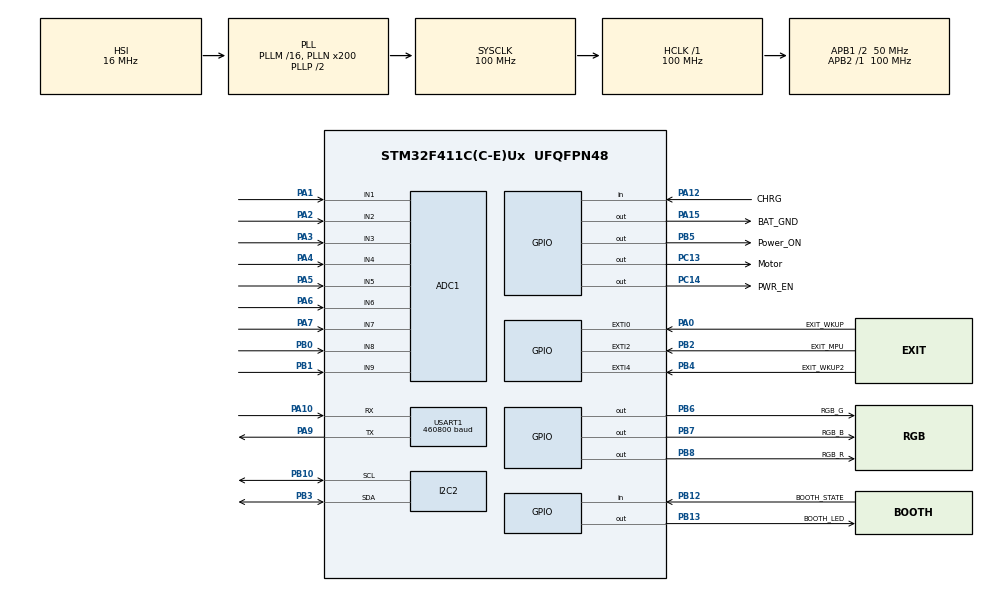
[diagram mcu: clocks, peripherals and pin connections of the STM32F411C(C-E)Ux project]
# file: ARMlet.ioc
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ADC1.Channel-0\#ChannelRegularConversion=ADC_CHANNEL_1
ADC1.Channel-10\#ChannelRegularConversion=ADC_CHANNEL_3
ADC1.Channel-11\#ChannelRegularConversion=ADC_CHANNEL_4
ADC1.Channel-12\#ChannelRegularConversion=ADC_CHANNEL_5
ADC1.Channel-13\#ChannelRegularConversion=ADC_CHANNEL_6
ADC1.Channel-14\#ChannelRegularConversion=ADC_CHANNEL_7
ADC1.Channel-15\#ChannelRegularConversion=ADC_CHANNEL_8
ADC1.Channel-16\#ChannelRegularConversion=ADC_CHANNEL_9
ADC1.Channel-9\#ChannelRegularConversion=ADC_CHANNEL_2
ADC1.ClockPrescaler=ADC_CLOCK_SYNC_PCLK_DIV8
ADC1.ContinuousConvMode=ENABLE
ADC1.DMAContinuousRequests=ENABLE
ADC1.DiscontinuousConvMode=DISABLE
ADC1.EOCSelection=ADC_EOC_SINGLE_CONV
ADC1.InjNumberOfConversion=0
ADC1.NbrOfConversion=9
ADC1.NbrOfConversionFlag=1
ADC1.Rank-0\#ChannelRegularConversion=1
ADC1.Rank-10\#ChannelRegularConversion=3
ADC1.Rank-11\#ChannelRegularConversion=4
ADC1.Rank-12\#ChannelRegularConversion=5
ADC1.Rank-13\#ChannelRegularConversion=6
ADC1.Rank-14\#ChannelRegularConversion=7
ADC1.Rank-15\#ChannelRegularConversion=8
ADC1.Rank-16\#ChannelRegularConversion=9
ADC1.Rank-9\#ChannelRegularConversion=2
ADC1.SamplingTime-0\#ChannelRegularConversion=ADC_SAMPLETIME_144CYCLES
ADC1.SamplingTime-10\#ChannelRegularConversion=ADC_SAMPLETIME_144CYCLES
ADC1.SamplingTime-11\#ChannelRegularConversion=ADC_SAMPLETIME_144CYCLES
ADC1.SamplingTime-12\#ChannelRegularConversion=ADC_SAMPLETIME_144CYCLES
ADC1.SamplingTime-13\#ChannelRegularConversion=ADC_SAMPLETIME_144CYCLES
ADC1.SamplingTime-14\#ChannelRegularConversion=ADC_SAMPLETIME_144CYCLES
ADC1.SamplingTime-15\#ChannelRegularConversion=ADC_SAMPLETIME_144CYCLES
ADC1.SamplingTime-16\#ChannelRegularConversion=ADC_SAMPLETIME_144CYCLES
ADC1.SamplingTime-9\#ChannelRegularConversion=ADC_SAMPLETIME_144CYCLES
ADC1.ScanConvMode=ENABLE
ADC1.master=1
Dma.ADC1.0.Direction=DMA_PERIPH_TO_MEMORY
Dma.ADC1.0.FIFOMode=DMA_FIFOMODE_DISABLE
Dma.ADC1.0.Instance=DMA2_Stream0
Dma.ADC1.0.MemDataAlignment=DMA_MDATAALIGN_WORD
Dma.ADC1.0.MemInc=DMA_MINC_ENABLE
Dma.ADC1.0.Mode=DMA_CIRCULAR
Dma.ADC1.0.PeriphDataAlignment=DMA_PDATAALIGN_WORD
Dma.ADC1.0.PeriphInc=DMA_PINC_DISABLE
Dma.ADC1.0.Priority=DMA_PRIORITY_MEDIUM
Dma.Request0=ADC1
Mcu.Family=STM32F4
Mcu.Name=STM32F411C(C-E)Ux
Mcu.Package=UFQFPN48
NVIC.DMA2_Stream0_IRQn=true\:0\:0\:false\:false\:true\:false\:true
NVIC.EXTI0_IRQn=true\:1\:0\:true\:false\:true\:true\:true
NVIC.EXTI2_IRQn=true\:2\:0\:true\:false\:true\:true\:true
NVIC.EXTI4_IRQn=true\:1\:0\:true\:false\:true\:true\:true
NVIC.PriorityGroup=NVIC_PRIORITYGROUP_4
NVIC.TIM1_BRK_TIM9_IRQn=true\:5\:0\:true\:false\:true\:true\:true
NVIC.TIM1_TRG_COM_TIM11_IRQn=true\:5\:0\:true\:false\:true\:true\:true
NVIC.TIM1_UP_TIM10_IRQn=true\:1\:0\:true\:false\:true\:true\:true
NVIC.TIM3_IRQn=true\:5\:0\:true\:false\:true\:true\:true
NVIC.TIM4_IRQn=true\:5\:0\:true\:false\:true\:true\:true
NVIC.TIM5_IRQn=true\:2\:0\:true\:false\:true\:true\:true
NVIC.USART1_IRQn=true\:3\:0\:true\:false\:true\:true\:true
PA0-WKUP.GPIO_Label=EXIT_WKUP
PA0-WKUP.GPIO_ModeDefaultEXTI=GPIO_MODE_IT_RISING
PA0-WKUP.Signal=GPXTI0
PA1.Signal=ADCx_IN1
PA10.Mode=Asynchronous
PA10.Signal=USART1_RX
PA12.GPIO_Label=CHRG
PA12.GPIO_PuPd=GPIO_PULLDOWN
PA12.Signal=GPIO_Input
PA13.Mode=Serial_Wire
PA13.Signal=SYS_JTMS-SWDIO
PA14.Mode=Serial_Wire
PA14.Signal=SYS_JTCK-SWCLK
PA15.GPIO_Label=BAT_GND
PA15.GPIO_PuPd=GPIO_NOPULL
PA15.Signal=GPIO_Output
PA2.Signal=ADCx_IN2
PA3.Signal=ADCx_IN3
PA4.Signal=ADCx_IN4
PA5.Signal=ADCx_IN5
PA6.Signal=ADCx_IN6
PA7.Signal=ADCx_IN7
PA9.Mode=Asynchronous
PA9.Signal=USART1_TX
PB0.Signal=ADCx_IN8
PB1.Signal=ADCx_IN9
PB10.Mode=I2C
PB10.Signal=I2C2_SCL
PB12.GPIO_Label=BOOTH_STATE
PB12.GPIO_PuPd=GPIO_PULLDOWN
PB12.Signal=GPIO_Input
PB13.GPIO_Label=BOOTH_LED
PB13.GPIO_PuPd=GPIO_PULLDOWN
PB13.PinState=GPIO_PIN_SET
PB13.Signal=GPIO_Output
PB2.GPIO_Label=EXIT_MPU
PB2.GPIO_ModeDefaultEXTI=GPIO_MODE_IT_FALLING
PB2.Signal=GPXTI2
PB3.Mode=I2C
PB3.Signal=I2C2_SDA
PB4.GPIO_Label=EXIT_WKUP2
PB4.GPIO_ModeDefaultEXTI=GPIO_MODE_IT_FALLING
PB4.Signal=GPXTI4
PB5.GPIO_Label=Power_ON
PB5.GPIO_PuPd=GPIO_PULLDOWN
PB5.PinState=GPIO_PIN_SET
PB5.Signal=GPIO_Output
PB6.GPIO_Label=RGB_G
PB6.GPIO_PuPd=GPIO_PULLDOWN
PB6.PinState=GPIO_PIN_SET
PB6.Signal=GPIO_Output
PB7.GPIO_Label=RGB_B
PB7.GPIO_PuPd=GPIO_PULLDOWN
PB7.PinState=GPIO_PIN_SET
PB7.Signal=GPIO_Output
PB8.GPIO_Label=RGB_R
PB8.GPIO_PuPd=GPIO_PULLDOWN
PB8.PinState=GPIO_PIN_SET
PB8.Signal=GPIO_Output
PC13-ANTI_TAMP.GPIO_Label=Motor
PC13-ANTI_TAMP.GPIO_PuPd=GPIO_PULLDOWN
PC13-ANTI_TAMP.Signal=GPIO_Output
PC14-OSC32_IN.GPIO_Label=PWR_EN
PC14-OSC32_IN.GPIO_PuPd=GPIO_PULLDOWN
PC14-OSC32_IN.PinState=GPIO_PIN_SET
PC14-OSC32_IN.Signal=GPIO_Output
ProjectManager.HeapSize=0x200
ProjectManager.StackSize=0x400
ProjectManager.TargetToolchain=MDK-ARM V5.32
RCC.48MHZClocksFreq_Value=50000000
RCC.AHBFreq_Value=100000000
RCC.APB1CLKDivider=RCC_HCLK_DIV2
RCC.APB1Freq_Value=50000000
RCC.APB1TimFreq_Value=100000000
RCC.APB2Freq_Value=100000000
RCC.APB2TimFreq_Value=100000000
RCC.CortexFreq_Value=100000000
RCC.HCLKFreq_Value=100000000
RCC.HSE_VALUE=25000000
RCC.HSI_VALUE=16000000
RCC.LSE_VALUE=32768
RCC.PLLN=200
RCC.SYSCLKFreq_VALUE=100000000
RCC.SYSCLKSource=RCC_SYSCLKSOURCE_PLLCLK
RCC.VCOOutputFreq_Value=200000000
SH.ADCx_IN1.0=ADC1_IN1,IN1
SH.ADCx_IN2.0=ADC1_IN2,IN2
SH.ADCx_IN3.0=ADC1_IN3,IN3
SH.ADCx_IN4.0=ADC1_IN4,IN4
SH.ADCx_IN5.0=ADC1_IN5,IN5
SH.ADCx_IN6.0=ADC1_IN6,IN6
SH.ADCx_IN7.0=ADC1_IN7,IN7
SH.ADCx_IN8.0=ADC1_IN8,IN8
SH.ADCx_IN9.0=ADC1_IN9,IN9
TIM10.Period=1999
TIM10.Prescaler=99
TIM11.Period=49999
TIM11.Prescaler=99
TIM3.Period=50000
TIM3.Prescaler=999
TIM4.Period=49999
TIM4.Prescaler=99
TIM5.Period=500000
TIM5.Prescaler=99
TIM9.Period=1000
TIM9.Prescaler=999
USART1.BaudRate=460800
USART1.VirtualMode=VM_ASYNC
VP_TIM10_VS_ClockSourceINT.Mode=Enable_Timer
VP_TIM11_VS_ClockSourceINT.Mode=Enable_Timer
VP_TIM3_VS_ClockSourceINT.Mode=Internal
VP_TIM4_VS_ClockSourceINT.Mode=Internal
VP_TIM5_VS_ClockSourceINT.Mode=Internal
VP_TIM9_VS_ClockSourceINT.Mode=Internal
board=custom

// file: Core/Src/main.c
/* USER CODE BEGIN Header */
/**
  ******************************************************************************
  * @file           : main.c
  * @brief          : Main program body
  ******************************************************************************
  * @attention
  *
  * <h2><center>&copy; Copyright (c) 2021 STMicroelectronics.
  * All rights reserved.</center></h2>
  *
  * This software component is licensed by ST under BSD 3-Clause license,
  * the "License"; You may not use this file except in compliance with the
  * License. You may obtain a copy of the License at:
  *                        opensource.org/licenses/BSD-3-Clause
  *
  ******************************************************************************
  */
/*============================肌电臂环简易版程序 V0.0.1================================
 * 念通智能
 * 简述外设功能
 * 1.htim10:	周期2ms			中断优先级：1		作用：采集EMG
 * 2.htim11:	周期50ms		中断优先级：5		作用：更新RGB灯色状态
 * 3.htim3:		周期200ms		中断优先级：5		作用：循环控制BOOTH_LED
 * 4.htim9:		周期10ms		中断优先级：5		作用：判断当前各种工作状态
 *
 *
 *
 * EXIT_GPIO2:	周期10ms		中断优先级：2		作用：IMU中断引脚
 *
 *
 *
 *
 *
 * */
/* USER CODE END Header */
#include "main.h"
#include "adc.h"
#include "dma.h"
#include "i2c.h"
#include "iwdg.h"
#include "tim.h"
#include "usart.h"
#include "gpio.h"

/* USER CODE BEGIN PV */
uint32_t AD_Value[20];	/* 8->EMG;1->battery*/
//==============================System work PV==================================
uint8_t work_state;				//工作状态变量	1：充电充满  2：正在充电	3：正常工作	  4：电量不足  5：电量微弱请及时充电
uint8_t Booth_state;			//蓝牙连接状态  0：未连接   1：连接状态
uint8_t Charge_state;			//充电状态		0：正在充   1：已经充满
uint8_t htim9_flag;				//定时器9旗标
uint8_t htim10_flag;			//定时器10旗标
uint8_t TimeFlag;				//EMG中断旗标
uint8_t IMUFlag;				//IMU中断旗标
uint8_t SystemFlag=0;			//完成初始化旗标

//================================IMU 数据测试函数====================================
short gyro[3], accel[3], sensors;
float Pitch,Roll,Yaw;
float q0,q1,q2,q3;
uint8_t OutPut_Buffer[11];

//===============串口1中断接受函数缓冲变量，trigger功能，ComandRCECVFlag====================
uint8_t RxCount=0;
uint8_t RxNum=0;
uint8_t RxBuffer[1];
uint8_t ReceiveBytes[8]={0};
uint8_t CommandRecevFlag=0;

uint8_t NoneData_EMG_Buf[16];
uint8_t NoneData_IMU_Buf[8];

/* USER CODE END PV */

void SystemClock_Config(void);

int main(void)
{

  /* MCU Configuration--------------------------------------------------------*/

  /* Reset of all peripherals, Initializes the Flash interface and the Systick. */
  HAL_Init();

  /* Configure the system clock */
  SystemClock_Config();

  /* USER CODE BEGIN SysInit */
  WKUP_init();
  /* USER CODE END SysInit */

  /* Initialize all configured peripherals */
  MX_GPIO_Init();
  MX_DMA_Init();
  MX_ADC1_Init();
  MX_I2C2_Init();
  MX_TIM3_Init();
  MX_TIM9_Init();
  MX_TIM10_Init();
  MX_TIM11_Init();
  MX_USART1_UART_Init();
  MX_TIM4_Init();

  MX_TIM5_Init();

  /* Infinite loop */
  /* USER CODE BEGIN WHILE */

	HAL_ADC_Start_DMA(&hadc1,AD_Value,9);		//开启ADC转换
	//HAL_UART_Receive_IT(&huart1,RxBuffer,1);	//串口1接收中断

	Motor_Open();		//开电机
	Open_LED(0);		//开白色全灯
	HAL_Delay(300);		//稍作延时
	Motor_Close();		//关电机
	Li_battery = AD_Value[8];				//因为ADC采集Li_battery在主函数中执行，先提前采集一次数据
	HAL_Delay(50);		//稍作延时

	HAL_TIM_Base_Start_IT(&htim3);			//蓝牙闪烁htim 200ms/T
	HAL_TIM_Base_Start_IT(&htim9);			//状态判断htim	 90ms/T
	HAL_TIM_Base_Start_IT(&htim10);			//EMG采集htim	 2ms/T
	HAL_TIM_Base_Start_IT(&htim11);			//LED灯状态更新htim  50ms/T

  HAL_Delay(10);
  //DMP_init();			//IMU初始化
  HAL_Delay(10);

  SystemFlag = 1;

  while (1)
  {

    /* USER CODE END WHILE */

  }
}

void SystemClock_Config(void)
{
  RCC_OscInitTypeDef RCC_OscInitStruct = {0};
  RCC_ClkInitTypeDef RCC_ClkInitStruct = {0};

  /** Configure the main internal regulator output voltage
  */
  __HAL_RCC_PWR_CLK_ENABLE();
  __HAL_PWR_VOLTAGESCALING_CONFIG(PWR_REGULATOR_VOLTAGE_SCALE1);
  /** Initializes the RCC Oscillators according to the specified parameters
  * in the RCC_OscInitTypeDef structure.
  */
  RCC_OscInitStruct.OscillatorType = RCC_OSCILLATORTYPE_HSI|RCC_OSCILLATORTYPE_LSI;
  RCC_OscInitStruct.HSIState = RCC_HSI_ON;
  RCC_OscInitStruct.HSICalibrationValue = RCC_HSICALIBRATION_DEFAULT;
  RCC_OscInitStruct.LSIState = RCC_LSI_ON;
  RCC_OscInitStruct.PLL.PLLState = RCC_PLL_ON;
  RCC_OscInitStruct.PLL.PLLSource = RCC_PLLSOURCE_HSI;
  RCC_OscInitStruct.PLL.PLLM = 16;
  RCC_OscInitStruct.PLL.PLLN = 200;
  RCC_OscInitStruct.PLL.PLLP = RCC_PLLP_DIV2;
  RCC_OscInitStruct.PLL.PLLQ = 4;
  if (HAL_RCC_OscConfig(&RCC_OscInitStruct) != HAL_OK)
  {
    Error_Handler();
  }
  /** Initializes the CPU, AHB and APB buses clocks
  */
  RCC_ClkInitStruct.ClockType = RCC_CLOCKTYPE_HCLK|RCC_CLOCKTYPE_SYSCLK
                              |RCC_CLOCKTYPE_PCLK1|RCC_CLOCKTYPE_PCLK2;
  RCC_ClkInitStruct.SYSCLKSource = RCC_SYSCLKSOURCE_PLLCLK;
  RCC_ClkInitStruct.AHBCLKDivider = RCC_SYSCLK_DIV1;
  RCC_ClkInitStruct.APB1CLKDivider = RCC_HCLK_DIV2;
  RCC_ClkInitStruct.APB2CLKDivider = RCC_HCLK_DIV1;

  if (HAL_RCC_ClockConfig(&RCC_ClkInitStruct, FLASH_LATENCY_3) != HAL_OK)
  {
    Error_Handler();
  }
}

/* USER CODE BEGIN 4 */
void HAL_TIM_PeriodElapsedCallback(TIM_HandleTypeDef *htim)
{
	if(htim == &htim3)
	{//蓝牙指示灯工作定时器 200ms/T
		htim3_work_serve();
	}
	if(htim == &htim5)
	{//看门狗喂狗定时器 500ms/T
		//	HAL_IWDG_Refresh(&hiwdg);
	}
	if(htim == &htim9)
	{//判断工作状态 10ms/T
		htim9_work_serve();
	}
	if(htim == &htim10)
	{//采集EMG 2ms  同时因为这个最高优先级的中断,也担负IMU的串口数据发送
	  get_ADCdata();	//获取9路ADC数据
	  //get_ADCdata_Double_for_Onechannel();
		/* 发送16位 是1.5字节一个数据			发送18位是 2个字节一个数据*/

	  if(HAL_UART_Transmit(&huart1, Emg_Data_Sent, 16, 0xff)==HAL_OK)
		{TimeFlag = 0;}
	  else
		{Error_Handler();}
//	  if(IMUFlag == 1)
//	  {
//		  IMUFlag = 0;
//		  if(HAL_UART_Transmit(&huart1, Imu_Data_Sent, 10, 0xff)==HAL_OK)
//			  IMUFlag = 0;
//		  else
//			  Error_Handler();
//	  }
	}//end of tim10
	if(htim == &htim11)
	{//电池状态判断 50ms
		htim11_work_serve();
	}
}

/*****************中断接收命令，trigger功能，CommandRecevFlag*********************/
void HAL_UART_RxCpltCallback(UART_HandleTypeDef *huart)
{
	if(huart->Instance == USART1)
	{
		ReceiveBytes[RxCount] = RxBuffer[0];
		if( ((ReceiveBytes[RxCount-1]==0x0D)&&(ReceiveBytes[RxCount]==0x0A)) || (RxCount >= 7) )
		{
			CommandRecevFlag = 1;
			RxNum = ++RxCount;
			RxCount=0;
		}
		else RxCount++;
		HAL_UART_Receive_IT(&huart1,RxBuffer,1);
	}
}
/* USER CODE END 4 */

void Error_Handler(void)
{
  /* USER CODE BEGIN Error_Handler_Debug */
  /* User can add his own implementation to report the HAL error return state */
  __disable_irq();
  while (1)
  {//错误中断内红灯不停闪烁
	  for(uint8_t i=0;i<20;i++)
	  {
		  Open_LED(3);
		  HAL_Delay(200);
		  Close_LED(3);
		  HAL_Delay(200);
	  }
	  PBout(5)=0;

  }
  /* USER CODE END Error_Handler_Debug */
}

/************************ (C) COPYRIGHT STMicroelectronics *****END OF FILE****/
